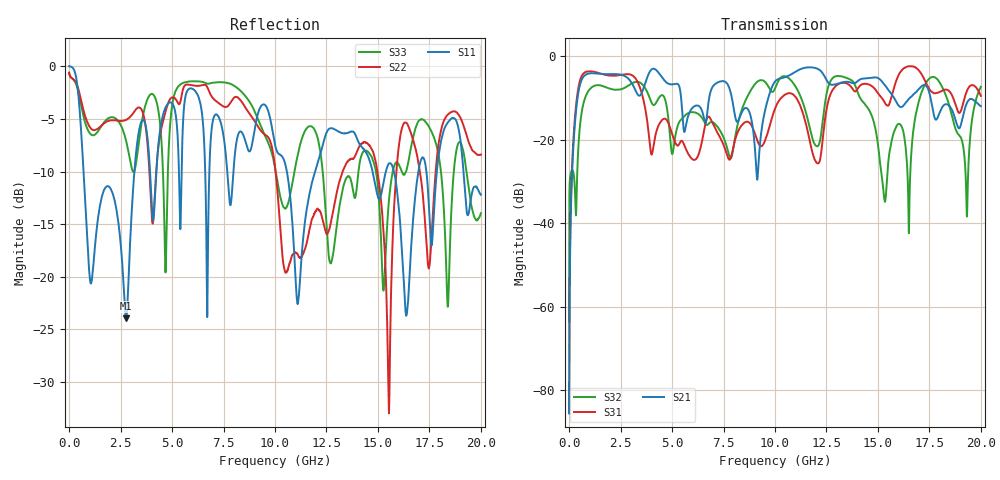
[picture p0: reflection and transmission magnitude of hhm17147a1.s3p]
! S-parameter Generated by TDK Corporation
! Copyright(C) 2018 TDK Corporation.
! All Rights Reserved.
! Balun
! Date: 2018/06
! TDK P/N: HHM17147A1
! Frequency: Start=0.3MHz Stop=20.0GHz
! Port Assignments
!  |  |---2(Balance)
!  1(Unbalance)---|  |
!  |_____|---3(Balance)
! Terms and conditions regarding TDK Simulation Models
! (1)This simulation model is being provided solely for informational purposes. Please refer to the specifications of the products in terms of detailed characteristics of such products.
! (2)In no event shall TDK Corporation of any of its subsidiaries be liable for any loss or damage arising, directly or indirectly,
!  From any information contained in this simulation model, including, but not limited to loss or damages arising from any inaccuracies, omissions or errors in connection with such information.
! (3)Any and all copyrights on this simulation model are owned by TDK Corporation.
!  Duplication or redistribution of this simulation model without prior written permission from TDK Corporation is prohibited.
! (4)This simulation model is subject to any modification or change without any prior notice.
! (5)Neither TDK Corporation nor any of its subsidiaries shall make any warranty, express or implied,
!  Including but not limited to the correctness, implied warranties of merchantability and fitness for a particular purpose with respect to this simulation models.
! (6)The use of this simulation model shall be deemed to have consented to the terms and conditions hereof.
# MHz S DB R 50
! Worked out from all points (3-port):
!   3201 points, 300 kHz to 20 GHz, reference 50 ohm
!   strongest paths, dB at 300 kHz, 5 GHz, 10 GHz, 15 GHz, 20 GHz:
!     S21: -85.5, -6.7, -6.0, -5.2, -12.0
!     S31: -85.5, -18.5, -12.5, -8.8, -9.5
!     S32: -63.6, -23.4, -7.7, -21.1, -7.3
!   lowest |S11| = -23.9 dB at 2.769 GHz (marker M1), VSWR 1.14, Z = 53.5 + j5.61 ohm
!   |S11| at or under -10 dB: 701.2 MHz to 3.17 GHz (2.469 GHz wide, 128 % of centre); 10.58 GHz to 11.95 GHz (1.372 GHz wide, 12.2 % of centre); 15.78 GHz to 16.96 GHz (1.189 GHz wide, 7.26 % of centre)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
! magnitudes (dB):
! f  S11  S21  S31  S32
! 300 kHz  0.0  -85.5  -85.5  -63.6
! 175.3 MHz  -0.1  -24.5  -22.9  -27.3
! 500.3 MHz  -3.9  -7.4  -6.3  -18.2
! 2.769 GHz  -23.9  -4.9  -4.3  -7.4
! 9.138 GHz  -4.7  -29.6  -20.1  -6.1
! 10 GHz  -7.4  -6.0  -12.5  -7.7
! 13.74 GHz  -6.2  -6.4  -7.6  -5.8
! 15.33 GHz  -10.5  -6.8  -11.0  -34.5
! 19.32 GHz  -13.9  -11.2  -8.3  -38.4
! 20 GHz  -12.2  -12.0  -9.5  -7.3
